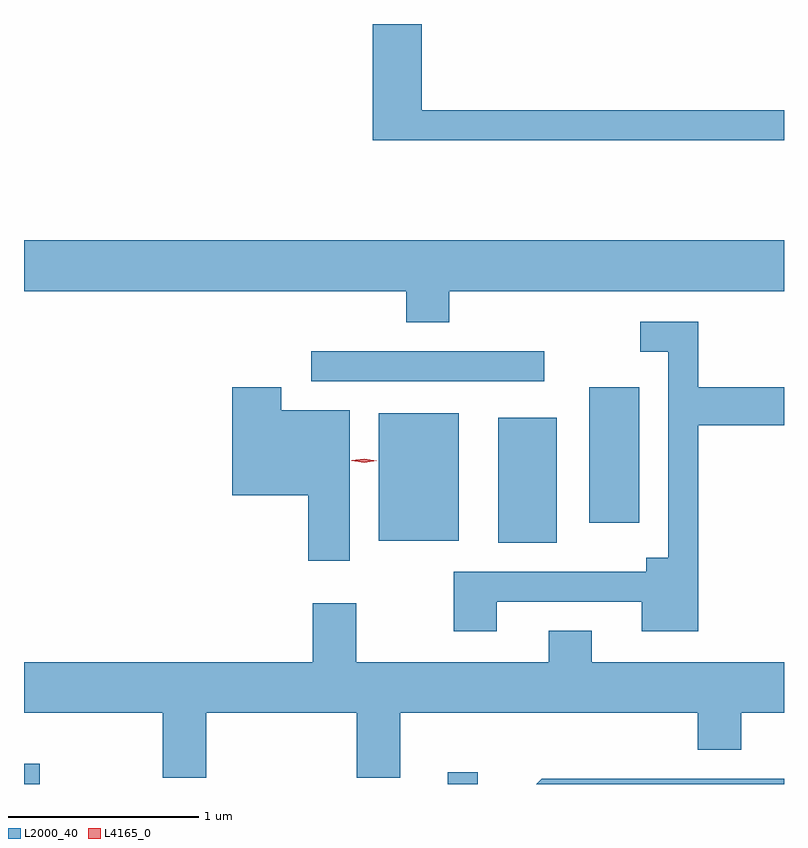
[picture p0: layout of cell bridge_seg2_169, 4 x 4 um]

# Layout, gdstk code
import gdstk
lib = gdstk.Library(unit=1e-6, precision=1e-09)
def R(c, l, rs):  # rectangles x0, y0, x1, y1
    for r in rs: c.add(gdstk.rectangle(r[:2], r[2:], *l))
def P(c, l, *ps):  # polygons
    for p in ps: c.add(gdstk.Polygon(p, *l))
L2000_40 = (2000, 40)
L4165_0 = (4165, 0)

bridge_seg2_169 = lib.new_cell('bridge_seg2_169')
R(bridge_seg2_169, L2000_40, [(847.24,1012.422,847.324,1012.528), (849.471,1012.422,849.629,1012.483), (849.736,1013.691,850.044,1014.349), (849.106,1013.701,849.529,1014.374), (850.216,1013.796,850.479,1014.509), (848.753,1014.541,849.978,1014.699)])
P(bridge_seg2_169, L2000_40, [(851.24,1015.969),(849.334,1015.969),(849.334,1016.422),(849.076,1016.422),(849.076,1015.811),(851.24,1015.811)],
  [(847.24,1015.016),(849.251,1015.016),(849.251,1014.851),(849.479,1014.851),(849.479,1015.016),(851.24,1015.016),(851.24,1015.284),(847.24,1015.284)],
  [(849.729,1013.381),(850.491,1013.381),(850.491,1013.226),(850.789,1013.226),(850.789,1014.311),(851.24,1014.311),(851.24,1014.509),(850.789,1014.509),(850.789,1014.854),(850.483,1014.854),(850.483,1014.696),(850.631,1014.696),(850.631,1013.614),(850.516,1013.614),(850.516,1013.539),(849.501,1013.539),(849.501,1013.226),(849.729,1013.226)],
  [(848.954,1014.389),(848.594,1014.389),(848.594,1014.509),(848.336,1014.509),(848.336,1013.941),(848.736,1013.941),(848.736,1013.596),(848.954,1013.596)],
  [(850.229,1013.229),(850.001,1013.229),(850.001,1013.064),(848.989,1013.064),(848.989,1013.374),(848.761,1013.374),(848.761,1013.064),(847.24,1013.064),(847.24,1012.796),(847.971,1012.796),(847.971,1012.456),(848.199,1012.456),(848.199,1012.796),(848.991,1012.796),(848.991,1012.456),(849.219,1012.456),(849.219,1012.796),(850.786,1012.796),(850.786,1012.601),(851.014,1012.601),(851.014,1012.796),(851.24,1012.796),(851.24,1013.064),(850.229,1013.064)],
  [(851.24,1012.449),(849.964,1012.449),(849.937,1012.422),(851.24,1012.422)])
P(bridge_seg2_169, L4165_0, [(849.03,1014.114),(848.964,1014.124),(848.963,1014.124),(848.964,1014.125),(849.03,1014.134),(849.096,1014.124),(849.096,1014.124),(849.096,1014.123)])

lib.write_gds('bridge_seg2_169.gds')
